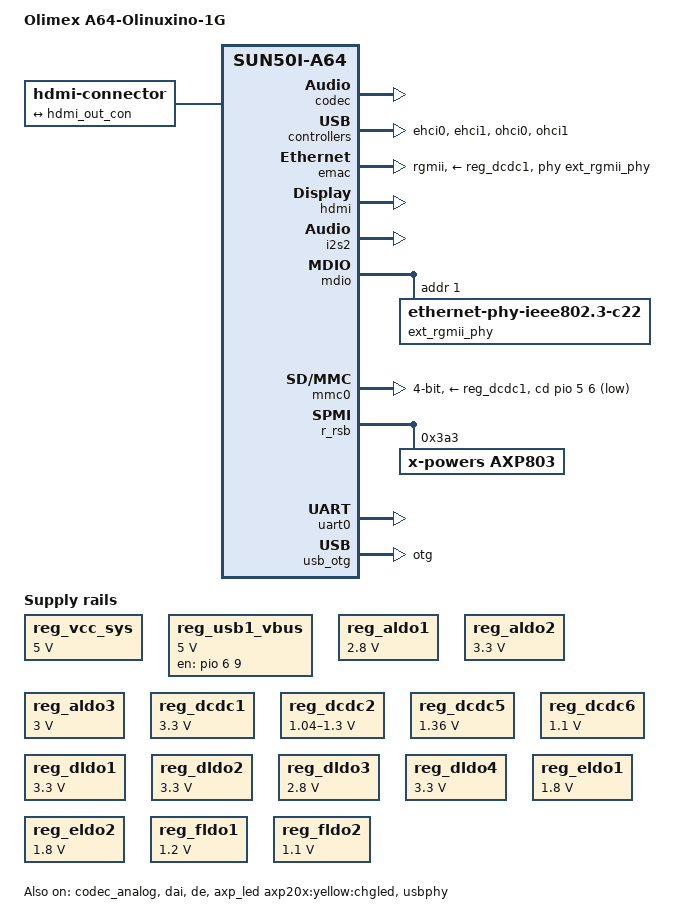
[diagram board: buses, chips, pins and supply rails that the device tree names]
// SPDX-License-Identifier: (GPL-2.0+ OR MIT)
/*
 * Copyright (C) 2019 OLIMEX Ltd.
 *
 */

/dts-v1/;

#include "sun50i-a64.dtsi"

#include <dt-bindings/gpio/gpio.h>

/ {
	model = "Olimex A64-Olinuxino-1G";
	compatible = "olimex,a64-olinuxino-1g", "allwinner,sun50i-a64";

	aliases {
		ethernet0 = &emac;
		serial0 = &uart0;
	};

	chosen {
		stdout-path = "serial0:115200n8";
	};

	hdmi-connector {
		compatible = "hdmi-connector";
		type = "a";

		port {
			hdmi_con_in: endpoint {
				remote-endpoint = <&hdmi_out_con>;
			};
		};
	};

	hdmi-sound {
		compatible = "simple-audio-card";
		simple-audio-card,format = "i2s";
		simple-audio-card,name = "allwinner,hdmi";
		simple-audio-card,mclk-fs = <256>;
		status = "okay";

		simple-audio-card,codec {
			sound-dai = <&hdmi>;
		};

		simple-audio-card,cpu {
			sound-dai = <&i2s2>;
		};
	};

	reg_vcc_sys: vcc-sys {
		compatible = "regulator-fixed";
		regulator-name = "vcc-sys";
		regulator-min-microvolt = <5000000>;
		regulator-max-microvolt = <5000000>;
		regulator-always-on;
		status = "okay";
	};

	reg_usb1_vbus: usb1-vbus {
		compatible = "regulator-fixed";
		regulator-name = "usb1-vbus";
		regulator-min-microvolt = <5000000>;
		regulator-max-microvolt = <5000000>;
		regulator-always-on;
		enable-active-high;
		gpio = <&pio 6 9 GPIO_ACTIVE_HIGH>; /* PG9 */
		status = "okay";
	};
};

&codec {
	status = "okay";
};

&codec_analog {
	hpvcc-supply = <&reg_eldo1>;
	status = "okay";
};

&dai {
	status = "okay";
};

&de {
	status = "okay";
};

&ehci0 {
	status = "okay";
};

&ehci1 {
	status = "okay";
};

&emac {
	pinctrl-names = "default";
	pinctrl-0 = <&rgmii_pins>;
	phy-mode = "rgmii";
	phy-handle = <&ext_rgmii_phy>;
	phy-supply = <&reg_dcdc1>;
	allwinner,tx-delay-ps = <600>;
	status = "okay";
};

&hdmi {
	hvcc-supply = <&reg_dldo1>;
	status = "okay";
};

&hdmi_out {
	hdmi_out_con: endpoint {
		remote-endpoint = <&hdmi_con_in>;
	};
};

/* Exposed to UEXT connector */
&i2c1 {
	#address-cells = <1>;
	#size-cells = <0>;
	pinctrl-names = "default";
	pinctrl-0 = <&i2c1_pins>;
	status = "disabled";
};

&i2s2 {
	status = "okay";
};

&mdio {
	ext_rgmii_phy: ethernet-phy@1 {
		compatible = "ethernet-phy-ieee802.3-c22";
		reg = <1>;
	};
};

&mmc0 {
	pinctrl-names = "default";
	pinctrl-0 = <&mmc0_pins>;
	vmmc-supply = <&reg_dcdc1>;
	cd-gpios = <&pio 5 6 GPIO_ACTIVE_LOW>;
	disable-wp;
	bus-width = <4>;
	status = "okay";
};

&ohci0 {
	status = "okay";
};

&ohci1 {
	status = "okay";
};

&r_rsb {
	status = "okay";

	axp803: pmic@3a3 {
		compatible = "x-powers,axp803";
		reg = <0x3a3>;
		interrupt-parent = <&r_intc>;
		interrupts = <GIC_SPI 32 IRQ_TYPE_LEVEL_LOW>;
		x-powers,drive-vbus-en;	/* set N_VBUSEN as output pin */
	};
};

#include "axp803.dtsi"

&ac_power_supply {
	status = "okay";
};

&axp_led {
	label = "axp20x:yellow:chgled";
	status = "okay";
	x-powers,charger-mode = <0>;
};

&battery_power_supply {
	status = "okay";
};

&reg_aldo1 {
	regulator-always-on;
	regulator-min-microvolt = <2800000>;
	regulator-max-microvolt = <2800000>;
	regulator-name = "vcc-pe";
};

&reg_aldo2 {
	regulator-always-on;
	regulator-min-microvolt = <3300000>;
	regulator-max-microvolt = <3300000>;
	regulator-name = "vcc-pl";
};

&reg_aldo3 {
	regulator-always-on;
	regulator-min-microvolt = <3000000>;
	regulator-max-microvolt = <3000000>;
	regulator-name = "vcc-pll-avcc";
};

&reg_dcdc1 {
	regulator-always-on;
	regulator-min-microvolt = <3300000>;
	regulator-max-microvolt = <3300000>;
	regulator-name = "vcc-3v3";
};

&reg_dcdc2 {
	regulator-always-on;
	regulator-min-microvolt = <1040000>;
	regulator-max-microvolt = <1300000>;
	regulator-name = "vdd-cpux";
};

/* DCDC3 is polyphased with DCDC2 */

/*
 * The board uses DDR3L DRAM chips. 1.36V is the closest to the nominal
 * 1.35V that the PMIC can drive.
 */
&reg_dcdc5 {
	regulator-always-on;
	regulator-min-microvolt = <1360000>;
	regulator-max-microvolt = <1360000>;
	regulator-name = "vcc-ddr3";
};

&reg_dcdc6 {
	regulator-always-on;
	regulator-min-microvolt = <1100000>;
	regulator-max-microvolt = <1100000>;
	regulator-name = "vdd-sys";
};

&reg_dldo1 {
	regulator-min-microvolt = <3300000>;
	regulator-max-microvolt = <3300000>;
	regulator-name = "vcc-hdmi";
};

&reg_dldo2 {
	regulator-min-microvolt = <3300000>;
	regulator-max-microvolt = <3300000>;
	regulator-name = "vcc-mipi";
};

&reg_dldo3 {
	regulator-min-microvolt = <2800000>;
	regulator-max-microvolt = <2800000>;
	regulator-name = "vcc-avdd-csi";
};

&reg_dldo4 {
	regulator-always-on;
	regulator-min-microvolt = <3300000>;
	regulator-max-microvolt = <3300000>;
	regulator-name = "vcc-wifi-io";
};

&reg_drivevbus {
	regulator-name = "usb0-vbus";
	status = "okay";
};

&reg_eldo1 {
	regulator-always-on;
	regulator-min-microvolt = <1800000>;
	regulator-max-microvolt = <1800000>;
	regulator-name = "vcc-emmc";
};

&reg_eldo2 {
	regulator-min-microvolt = <1800000>;
	regulator-max-microvolt = <1800000>;
	regulator-name = "vcc-dvdd-csi";
};

&reg_fldo1 {
	regulator-min-microvolt = <1200000>;
	regulator-max-microvolt = <1200000>;
	regulator-name = "vcc-1v2-hsic";
};

/*
 * The A64 chip cannot work without this regulator off, although
 * it seems to be only driving the AR100 core.
 * Maybe we don't still know well about CPUs domain.
 */
&reg_fldo2 {
	regulator-always-on;
	regulator-min-microvolt = <1100000>;
	regulator-max-microvolt = <1100000>;
	regulator-name = "vdd-cpus";
};

&reg_rtc_ldo {
	regulator-name = "vcc-rtc";
};

&simplefb_hdmi {
	vcc-hdmi-supply = <&reg_dldo1>;
};

&sound {
	simple-audio-card,aux-devs = <&codec_analog>;
	simple-audio-card,widgets = "Microphone", "Microphone Jack Left",
				    "Microphone", "Microphone Jack Right",
				    "Headphone", "Headphone Jack";
	simple-audio-card,routing = "Left DAC", "AIF1 Slot 0 Left",
				    "Right DAC", "AIF1 Slot 0 Right",
				    "Headphone Jack", "HP",
				    "AIF1 Slot 0 Left ADC", "Left ADC",
				    "AIF1 Slot 0 Right ADC", "Right ADC",
				    "Microphone Jack Left", "MBIAS",
				    "MIC1", "Microphone Jack Left",
				    "Microphone Jack Left", "HBIAS",
				    "MIC2", "Microphone Jack Right";
	status = "okay";
};

&spdif {
	status = "disabled";
};

/* Exposed on UEXT */
&spi0 {
	pinctrl-names = "default";
	pinctrl-0 = <&spi0_pins>;
	status = "disabled";
};

&uart0 {
	pinctrl-names = "default";
	pinctrl-0 = <&uart0_pb_pins>;
	status = "okay";
};

/* Exposed on UEXT */
&uart3 {
	pinctrl-names = "default";
	pinctrl-0 = <&uart3_pins>;
	status = "disabled";
};

&usb_otg {
	dr_mode = "otg";
	status = "okay";
};

&usbphy {
	status = "okay";
	usb0_id_det-gpios = <&pio 7 9 GPIO_ACTIVE_HIGH>; /* PH9 */
	usb0_vbus_det-gpios = <&pio 7 6 GPIO_ACTIVE_HIGH>; /* PH6 */
	usb0_vbus-supply = <&reg_drivevbus>;
	usb1_vbus-supply = <&reg_usb1_vbus>;
};
